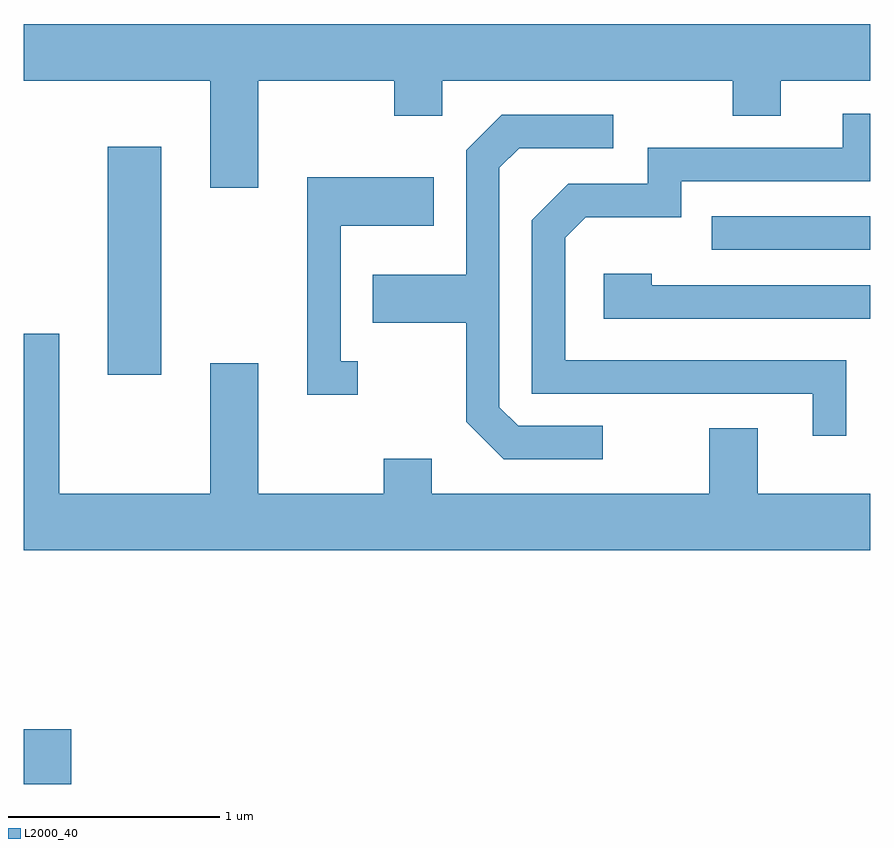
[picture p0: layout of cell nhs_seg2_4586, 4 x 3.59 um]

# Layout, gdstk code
import gdstk
lib = gdstk.Library(unit=1e-6, precision=1e-09)
def R(c, l, rs):  # rectangles x0, y0, x1, y1
    for r in rs: c.add(gdstk.rectangle(r[:2], r[2:], *l))
def P(c, l, *ps):  # polygons
    for p in ps: c.add(gdstk.Polygon(p, *l))
L2000_40 = (2000, 40)

nhs_seg2_4586 = lib.new_cell('nhs_seg2_4586')
R(nhs_seg2_4586, L2000_40, [(319.611,1073.851,319.834,1074.109), (320.006,1075.786,320.259,1076.864), (322.863,1076.376,323.611,1076.534)])
P(nhs_seg2_4586, L2000_40, [(320.719,1077.176),(321.361,1077.176),(321.361,1077.011),(321.589,1077.011),(321.589,1077.176),(322.961,1077.176),(322.961,1077.011),(323.189,1077.011),(323.189,1077.176),(323.611,1077.176),(323.611,1077.444),(319.611,1077.444),(319.611,1077.176),(320.491,1077.176),(320.491,1076.671),(320.719,1076.671)],
  [(323.499,1075.854),(322.169,1075.854),(322.169,1076.434),(322.267,1076.531),(322.719,1076.531),(322.719,1076.701),(323.611,1076.701),(323.611,1077.019),(323.481,1077.019),(323.481,1076.859),(322.561,1076.859),(322.561,1076.689),(322.184,1076.689),(322.011,1076.517),(322.011,1075.696),(323.341,1075.696),(323.341,1075.498),(323.499,1075.498)],
  [(322.348,1075.544),(321.947,1075.544),(321.859,1075.632),(321.859,1076.764),(321.952,1076.856),(322.398,1076.856),(322.398,1077.014),(321.869,1077.014),(321.701,1076.847),(321.701,1076.259),(321.261,1076.259),(321.261,1076.031),(321.701,1076.031),(321.701,1075.564),(321.879,1075.386),(322.348,1075.386)],
  [(321.188,1075.849),(321.109,1075.849),(321.109,1076.491),(321.549,1076.491),(321.549,1076.719),(320.951,1076.719),(320.951,1075.691),(321.188,1075.691)],
  [(323.611,1076.209),(322.579,1076.209),(322.579,1076.264),(322.351,1076.264),(322.351,1076.051),(323.611,1076.051)],
  [(323.611,1075.224),(323.079,1075.224),(323.079,1075.534),(322.851,1075.534),(322.851,1075.224),(321.539,1075.224),(321.539,1075.389),(321.311,1075.389),(321.311,1075.224),(320.719,1075.224),(320.719,1075.839),(320.491,1075.839),(320.491,1075.224),(319.779,1075.224),(319.779,1075.979),(319.611,1075.979),(319.611,1074.956),(323.611,1074.956)])

lib.write_gds('nhs_seg2_4586.gds')
